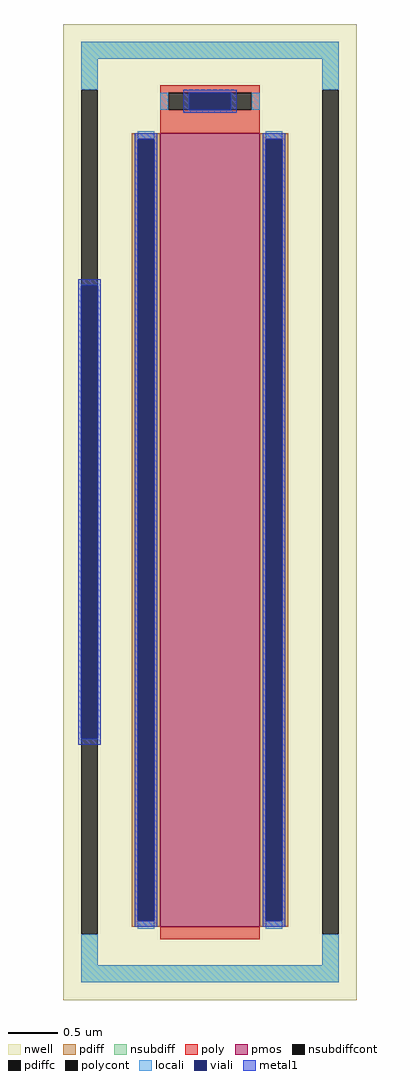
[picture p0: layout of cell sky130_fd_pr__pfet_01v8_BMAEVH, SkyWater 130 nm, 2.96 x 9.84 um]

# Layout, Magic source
magic
tech sky130A
magscale 1 2
<< nwell >>
rect -296 -984 296 984
<< pmos >>
rect -100 -836 100 764
<< pdiff >>
rect -158 752 -100 764
rect -158 -824 -146 752
rect -112 -824 -100 752
rect -158 -836 -100 -824
rect 100 752 158 764
rect 100 -824 112 752
rect 146 -824 158 752
rect 100 -836 158 -824
<< pdiffc >>
rect -146 -824 -112 752
rect 112 -824 146 752
<< nsubdiff >>
rect -260 914 260 948
rect -260 851 -226 914
rect 226 851 260 914
rect -260 -914 -226 -851
rect 226 -914 260 -851
rect -260 -948 260 -914
<< nsubdiffcont >>
rect -260 -851 -226 851
rect 226 -851 260 851
<< poly >>
rect -100 845 100 861
rect -100 811 -84 845
rect 84 811 100 845
rect -100 764 100 811
rect -100 -862 100 -836
<< polycont >>
rect -84 811 84 845
<< locali >>
rect -260 914 260 948
rect -260 851 -226 914
rect 226 851 260 914
rect -100 811 -84 845
rect 84 811 100 845
rect -146 752 -112 768
rect -146 -840 -112 -824
rect 112 752 146 768
rect 112 -840 146 -824
rect -260 -914 -226 -851
rect 226 -914 260 -851
rect -260 -948 260 -914
<< viali >>
rect -42 811 42 845
rect -260 -457 -226 457
rect -146 -824 -112 752
rect 112 -824 146 752
<< metal1 >>
rect -54 845 54 851
rect -54 811 -42 845
rect 42 811 54 845
rect -54 805 54 811
rect -152 752 -106 764
rect -266 457 -220 469
rect -266 -457 -260 457
rect -226 -457 -220 457
rect -266 -469 -220 -457
rect -152 -824 -146 752
rect -112 -824 -106 752
rect -152 -836 -106 -824
rect 106 752 152 764
rect 106 -824 112 752
rect 146 -824 152 752
rect 106 -836 152 -824
<< properties >>
string FIXED_BBOX -243 -931 243 931
string gencell sky130_fd_pr__pfet_01v8
string library sky130
string parameters w 8.0 l 1.0 m 1 nf 1 diffcov 100 polycov 100 guard 1 glc 1 grc 1 gtc 0 gbc 0 tbcov 100 rlcov 100 topc 1 botc 0 poverlap 0 doverlap 1 lmin 0.15 wmin 0.42 compatible {sky130_fd_pr__pfet_01v8  sky130_fd_pr__pfet_01v8_lvt sky130_fd_pr__pfet_01v8_hvt  sky130_fd_pr__pfet_g5v0d10v5} full_metal 1 viasrc 100 viadrn 100 viagate 50 viagb 0 viagr 0 viagl 50 viagt 0
<< end >>
